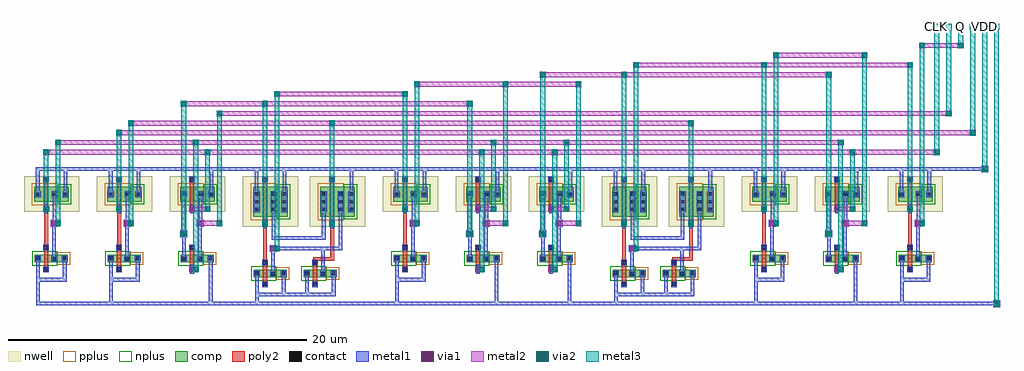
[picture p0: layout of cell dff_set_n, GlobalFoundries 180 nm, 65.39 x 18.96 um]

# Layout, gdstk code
import gdstk
lib = gdstk.Library(unit=1e-6, precision=1e-09)
def R(c, l, rs):  # rectangles x0, y0, x1, y1
    for r in rs: c.add(gdstk.rectangle(r[:2], r[2:], *l))
def A(c, l, x, y, w, h, nx, ny, dx, dy):  # array of equal rectangles
    R(c, l, [(x+i*dx, y+j*dy, x+i*dx+w, y+j*dy+h) for i in range(nx) for j in range(ny)])
nwell = (21, 0)
comp = (22, 0)
poly2 = (30, 0)
pplus = (31, 0)
nplus = (32, 0)
contact = (33, 0)
metal1 = (34, 0)
via1 = (35, 0)
metal2 = (36, 0)
via2 = (38, 0)
metal3 = (42, 0)

inv = lib.new_cell('inv')
R(inv, nwell, [(-1.15,-0.69,2.54,1.69)])
R(inv, comp, [(-0.42,-4.06,0,-3.56), (0,-4.06,0.66,-3.56), (0.66,-4.06,1.08,-3.56), (1.08,-4.06,1.79,-3.56), (-0.46,0,0,1), (0,0,0.66,1), (0.66,0,1.12,1), (1.12,0,1.85,1)])
R(inv, poly2, [(0.15,-4.72,0.51,-4.36), (0.2,-4.67,0.46,-0.36), (0.19,-4.36,0.47,-3.26), (0.15,-3.26,0.51,-2.9), (0.14,-0.68,0.52,-0.3), (0.19,-0.3,0.47,1.3), (0.14,1.3,0.52,1.68)])
R(inv, pplus, [(1.08,-4.23,1.96,-3.39), (-0.63,-0.24,1.12,1.24)])
R(inv, nplus, [(-0.59,-4.3,1.08,-3.32), (1.12,-0.17,2.02,1.17)])
R(inv, contact, [(0.22,-4.65,0.44,-4.43), (-0.32,-3.92,-0.1,-3.7), (0.76,-3.92,0.98,-3.7), (1.47,-3.92,1.69,-3.7), (0.22,-3.19,0.44,-2.97), (0.22,-0.6,0.44,-0.38), (-0.34,0.39,-0.12,0.61), (0.78,0.39,1,0.61), (1.51,0.39,1.73,0.61), (0.22,1.38,0.44,1.6)])
R(inv, metal1, [(-0.33,-5.35,1.7,-5.11), (-0.33,-5.35,-0.09,-3.69), (1.46,-5.35,1.7,-3.69), (0.14,-4.73,0.52,-4.35), (-0.4,-4,-0.02,-3.62), (0.68,-4,1.06,-3.62), (1.39,-4,1.77,-3.62), (0.75,-3.93,0.99,-1.32), (0.14,-3.27,0.52,-2.89), (0.75,-1.56,1.01,-1.32), (0.77,-1.56,1.01,0.62), (0.14,-0.68,0.52,-0.3), (-0.42,0.31,-0.04,0.69), (0.7,0.31,1.08,0.69), (1.43,0.31,1.81,0.69), (-0.35,0.38,-0.11,2.31), (1.5,0.38,1.74,2.31), (0.14,1.3,0.52,1.68), (-0.35,2.07,1.74,2.31)])
inv.add(gdstk.Label('ps', (-0.23,0.5), layer=34, texttype=10))
inv.add(gdstk.Label('pd', (0.89,0.5), layer=34, texttype=10))
inv.add(gdstk.Label('pg', (0.33,-0.49), layer=34, texttype=10))
inv.add(gdstk.Label('pvdd', (1.62,0.5), layer=34, texttype=10))
inv.add(gdstk.Label('ns', (-0.21,-3.811), layer=34, texttype=10))
inv.add(gdstk.Label('nd', (0.87,-3.811), layer=34, texttype=10))
inv.add(gdstk.Label('ng', (0.33,-4.541), layer=34, texttype=10))
inv.add(gdstk.Label('ngnd', (1.58,-3.811), layer=34, texttype=10))
inv.add(gdstk.Label('VDD', (-0.23,2.19), layer=34, texttype=10))
inv.add(gdstk.Label('VSS', (-0.21,-5.232), layer=34, texttype=10))
inv.add(gdstk.Label('vout', (0.87,-1.44), layer=34, texttype=10))
inv.add(gdstk.Label('vin', (0.33,-0.49), layer=34, texttype=10))

c_tg = lib.new_cell('tg')
R(c_tg, nwell, [(-1.15,-0.69,2.54,1.69)])
R(c_tg, comp, [(-0.42,-4.06,0,-3.56), (0,-4.06,0.66,-3.56), (0.66,-4.06,1.08,-3.56), (1.08,-4.06,1.79,-3.56), (-0.46,0,0,1), (0,0,0.66,1), (0.66,0,1.12,1), (1.12,0,1.85,1)])
R(c_tg, poly2, [(0.15,-4.72,0.51,-4.36), (0.19,-4.36,0.47,-3.26), (0.15,-3.26,0.51,-2.9), (0.14,-0.68,0.52,-0.3), (0.19,-0.3,0.47,1.3), (0.14,1.3,0.52,1.68)])
R(c_tg, pplus, [(1.08,-4.23,1.96,-3.39), (-0.63,-0.24,1.12,1.24)])
R(c_tg, nplus, [(-0.59,-4.3,1.08,-3.32), (1.12,-0.17,2.02,1.17)])
R(c_tg, contact, [(0.22,-4.65,0.44,-4.43), (-0.32,-3.92,-0.1,-3.7), (0.76,-3.92,0.98,-3.7), (1.47,-3.92,1.69,-3.7), (0.22,-3.19,0.44,-2.97), (0.22,-0.6,0.44,-0.38), (-0.34,0.39,-0.12,0.61), (0.78,0.39,1,0.61), (1.51,0.39,1.73,0.61), (0.22,1.38,0.44,1.6)])
R(c_tg, metal1, [(1.46,-5.35,1.7,-5.11), (1.46,-5.35,1.7,-3.69), (0.14,-4.73,0.52,-4.35), (-0.4,-4,-0.02,-3.62), (0.68,-4,1.06,-3.62), (1.39,-4,1.77,-3.62), (-0.33,-3.93,-0.09,-2.02), (0.75,-3.93,0.99,-1.32), (0.14,-3.27,0.52,-2.89), (-0.35,-2.26,-0.09,-2.02), (-0.35,-2.26,-0.11,0.62), (0.75,-1.56,1.01,-1.32), (0.77,-1.56,1.01,0.62), (0.14,-0.68,0.52,-0.3), (-0.42,0.31,-0.04,0.69), (0.7,0.31,1.08,0.69), (1.43,0.31,1.81,0.69), (1.5,0.38,1.74,2.31), (0.14,1.3,0.52,1.68), (1.5,2.07,1.74,2.31)])
c_tg.add(gdstk.Label('ps', (-0.23,0.5), layer=34, texttype=10))
c_tg.add(gdstk.Label('pd', (0.89,0.5), layer=34, texttype=10))
c_tg.add(gdstk.Label('pg', (0.33,-0.49), layer=34, texttype=10))
c_tg.add(gdstk.Label('pvdd', (1.62,0.5), layer=34, texttype=10))
c_tg.add(gdstk.Label('ns', (-0.21,-3.811), layer=34, texttype=10))
c_tg.add(gdstk.Label('nd', (0.87,-3.811), layer=34, texttype=10))
c_tg.add(gdstk.Label('ng', (0.33,-4.541), layer=34, texttype=10))
c_tg.add(gdstk.Label('ngnd', (1.58,-3.811), layer=34, texttype=10))
c_tg.add(gdstk.Label('VDD', (1.62,2.19), layer=34, texttype=10))
c_tg.add(gdstk.Label('VSS', (1.58,-5.232), layer=34, texttype=10))
c_tg.add(gdstk.Label('A', (0.87,-1.44), layer=34, texttype=10))
c_tg.add(gdstk.Label('B', (-0.23,-2.14), layer=34, texttype=10))
c_tg.add(gdstk.Label('CTRL_B', (0.33,-0.49), layer=34, texttype=10))
c_tg.add(gdstk.Label('CTRL', (0.33,-4.541), layer=34, texttype=10))

nor2 = lib.new_cell('nor2')
R(nor2, nwell, [(-1.15,-0.69,2.54,2.69), (3.34,-0.69,7.03,2.69)])
R(nor2, comp, [(-0.42,-4.06,0,-3.56), (0,-4.06,0.66,-3.56), (0.66,-4.06,1.08,-3.56), (1.08,-4.06,1.79,-3.56), (2.93,-4.06,3.35,-3.56), (3.35,-4.06,4.01,-3.56), (4.01,-4.06,4.43,-3.56), (4.43,-4.06,5.14,-3.56), (-0.46,0,0,2), (0,0,0.66,2), (0.66,0,1.12,2), (1.12,0,1.85,2), (4.03,0,4.49,2), (4.49,0,5.15,2), (5.15,0,5.61,2), (5.61,0,6.34,2)])
R(nor2, poly2, [(0.15,-4.72,0.51,-4.36), (3.5,-4.72,3.86,-4.36), (0.2,-4.67,0.46,-0.36), (3.55,-4.67,3.81,-2.71), (0.19,-4.36,0.47,-3.26), (3.54,-4.36,3.82,-3.26), (0.15,-3.26,0.51,-2.9), (3.5,-3.26,3.86,-2.9), (3.55,-2.97,4.95,-2.71), (4.69,-2.97,4.95,-0.36), (0.14,-0.68,0.52,-0.3), (4.63,-0.68,5.01,-0.3), (0.19,-0.3,0.47,2.3), (4.68,-0.3,4.96,2.3), (0.14,2.3,0.52,2.68), (4.63,2.3,5.01,2.68)])
R(nor2, pplus, [(1.08,-4.23,1.96,-3.39), (4.43,-4.23,5.31,-3.39), (-0.63,-0.24,1.12,2.24), (3.86,-0.24,5.61,2.24)])
R(nor2, nplus, [(-0.59,-4.3,1.08,-3.32), (2.76,-4.3,4.43,-3.32), (1.12,-0.17,2.02,2.17), (5.61,-0.17,6.51,2.17)])
A(nor2, contact, -0.34, 0.38, 0.22, 0.22, 1, 3, 0, 0.51)
A(nor2, contact, 0.78, 0.38, 0.22, 0.22, 1, 3, 0, 0.51)
A(nor2, contact, 1.51, 0.38, 0.22, 0.22, 1, 3, 0, 0.51)
A(nor2, contact, 4.15, 0.38, 0.22, 0.22, 1, 3, 0, 0.51)
A(nor2, contact, 5.27, 0.38, 0.22, 0.22, 1, 3, 0, 0.51)
A(nor2, contact, 6, 0.38, 0.22, 0.22, 1, 3, 0, 0.51)
R(nor2, contact, [(0.22,-4.65,0.44,-4.43), (3.57,-4.65,3.79,-4.43), (-0.32,-3.92,-0.1,-3.7), (0.76,-3.92,0.98,-3.7), (1.47,-3.92,1.69,-3.7), (3.03,-3.92,3.25,-3.7), (4.11,-3.92,4.33,-3.7), (4.82,-3.92,5.04,-3.7), (0.22,-3.19,0.44,-2.97), (3.57,-3.19,3.79,-2.97), (0.22,-0.6,0.44,-0.38), (4.71,-0.6,4.93,-0.38), (0.22,2.38,0.44,2.6), (4.71,2.38,4.93,2.6)])
R(nor2, metal1, [(-0.33,-5.35,5.05,-5.11), (-0.33,-5.35,-0.09,-3.69), (1.46,-5.35,1.7,-3.69), (3.02,-5.35,3.26,-3.69), (4.81,-5.35,5.05,-3.69), (0.14,-4.73,0.52,-4.35), (3.49,-4.73,3.87,-4.35), (-0.4,-4,-0.02,-3.62), (0.68,-4,1.06,-3.62), (1.39,-4,1.77,-3.62), (2.95,-4,3.33,-3.62), (4.03,-4,4.41,-3.62), (4.74,-4,5.12,-3.62), (0.75,-3.93,0.99,-2.02), (4.1,-3.93,4.34,-2.02), (0.14,-3.27,0.52,-2.89), (3.49,-3.27,3.87,-2.89), (0.75,-2.26,5.5,-2.02), (5.26,-2.26,5.5,1.12), (0.77,-1.56,4.38,-1.32), (0.77,-1.56,1.01,1.12), (4.14,-1.56,4.38,1.12), (0.14,-0.68,0.52,-0.3), (4.63,-0.68,5.01,-0.3), (-0.42,0.3,-0.04,1.7), (0.7,0.3,1.08,1.7), (1.43,0.3,1.81,1.7), (4.07,0.3,4.45,1.7), (5.19,0.3,5.57,1.7), (5.92,0.3,6.3,1.7), (-0.35,0.88,-0.11,3.31), (1.5,0.88,1.74,3.31), (5.99,0.88,6.23,3.31), (0.14,2.3,0.52,2.68), (4.63,2.3,5.01,2.68), (-0.35,3.07,6.23,3.31)])
nor2.add(gdstk.Label('ps_a', (-0.23,1), layer=34, texttype=10))
nor2.add(gdstk.Label('pd_a', (0.89,1), layer=34, texttype=10))
nor2.add(gdstk.Label('pg_a', (0.33,-0.49), layer=34, texttype=10))
nor2.add(gdstk.Label('pvdd_a', (1.62,1), layer=34, texttype=10))
nor2.add(gdstk.Label('ps_b', (4.26,1), layer=34, texttype=10))
nor2.add(gdstk.Label('pd_b', (5.38,1), layer=34, texttype=10))
nor2.add(gdstk.Label('pg_b', (4.82,-0.49), layer=34, texttype=10))
nor2.add(gdstk.Label('pvdd_b', (6.11,1), layer=34, texttype=10))
nor2.add(gdstk.Label('ns_a', (-0.21,-3.811), layer=34, texttype=10))
nor2.add(gdstk.Label('nd_a', (0.87,-3.811), layer=34, texttype=10))
nor2.add(gdstk.Label('ng_a', (0.33,-4.541), layer=34, texttype=10))
nor2.add(gdstk.Label('ngnd_a', (1.58,-3.811), layer=34, texttype=10))
nor2.add(gdstk.Label('ns_b', (3.14,-3.811), layer=34, texttype=10))
nor2.add(gdstk.Label('nd_b', (4.22,-3.811), layer=34, texttype=10))
nor2.add(gdstk.Label('ng_b', (3.68,-4.541), layer=34, texttype=10))
nor2.add(gdstk.Label('ngnd_b', (4.93,-3.811), layer=34, texttype=10))
nor2.add(gdstk.Label('VDD', (-0.23,3.19), layer=34, texttype=10))
nor2.add(gdstk.Label('VSS', (-0.21,-5.232), layer=34, texttype=10))
nor2.add(gdstk.Label('Z', (0.87,-2.14), layer=34, texttype=10))
nor2.add(gdstk.Label('A', (0.33,-0.49), layer=34, texttype=10))
nor2.add(gdstk.Label('B', (4.82,-0.49), layer=34, texttype=10))

dff_set_n = lib.new_cell('dff_set_n')
A(dff_set_n, metal1, 1.79, -3.98, 0.46, 0.46, 3, 1, 4.89, 0)
A(dff_set_n, metal1, 25.84, -3.98, 0.46, 0.46, 3, 1, 4.89, 0)
A(dff_set_n, metal1, 49.89, -3.98, 0.46, 0.46, 3, 1, 4.89, 0)
A(dff_set_n, metal1, 1.35, -3.1, 0.26, 0.6, 3, 1, 4.89, 0)
A(dff_set_n, metal1, 25.4, -3.1, 0.26, 0.6, 3, 1, 4.89, 0)
A(dff_set_n, metal1, 49.45, -3.1, 0.26, 0.6, 3, 1, 4.89, 0)
R(dff_set_n, metal1, [(64.93,-9.37,65.39,-8.91), (0.82,-9.26,1.06,-7.42), (0.82,-9.26,65.28,-9.02), (5.71,-9.26,5.95,-7.42), (12.39,-9.26,12.63,-7.42), (15.49,-9.26,15.73,-8.42), (24.87,-9.26,25.11,-7.42), (31.55,-9.26,31.79,-7.42), (36.44,-9.26,36.68,-7.42), (39.54,-9.26,39.78,-8.42), (48.92,-9.26,49.16,-7.42), (55.6,-9.26,55.84,-7.42), (58.7,-9.26,58.94,-7.42), (11.13,-7.15,11.39,-6.55), (30.29,-7.15,30.55,-6.55), (35.18,-7.15,35.44,-6.55), (54.34,-7.15,54.6,-6.55), (16.46,-5.68,16.92,-5.22), (40.51,-5.68,40.97,-5.22), (10.47,-4.68,10.93,-4.22), (29.63,-4.68,30.09,-4.22), (34.52,-4.68,34.98,-4.22), (53.68,-4.68,54.14,-4.22), (16.02,-4.1,16.28,-3.5), (20.51,-4.1,20.77,-3.5), (40.07,-4.1,40.33,-3.5), (44.56,-4.1,44.82,-3.5), (64.13,-0.35,64.59,0.11), (0.8,-0.24,64.48,0)])
A(dff_set_n, via1, 1.89, -3.88, 0.26, 0.26, 3, 1, 4.89, 0)
A(dff_set_n, via1, 25.94, -3.88, 0.26, 0.26, 3, 1, 4.89, 0)
A(dff_set_n, via1, 49.99, -3.88, 0.26, 0.26, 3, 1, 4.89, 0)
A(dff_set_n, via1, 1.35, -2.93, 0.26, 0.26, 3, 1, 4.89, 0)
A(dff_set_n, via1, 25.4, -2.93, 0.26, 0.26, 3, 1, 4.89, 0)
A(dff_set_n, via1, 49.45, -2.93, 0.26, 0.26, 3, 1, 4.89, 0)
R(dff_set_n, via1, [(65.03,-9.27,65.29,-9.01), (11.13,-6.98,11.39,-6.72), (30.29,-6.98,30.55,-6.72), (35.18,-6.98,35.44,-6.72), (54.34,-6.98,54.6,-6.72), (16.56,-5.58,16.82,-5.32), (40.61,-5.58,40.87,-5.32), (10.57,-4.58,10.83,-4.32), (29.73,-4.58,29.99,-4.32), (34.62,-4.58,34.88,-4.32), (53.78,-4.58,54.04,-4.32), (16.02,-3.93,16.28,-3.67), (20.51,-3.93,20.77,-3.67), (40.07,-3.93,40.33,-3.67), (44.56,-3.93,44.82,-3.67), (64.23,-0.25,64.49,0.01)])
A(dff_set_n, metal2, 1.285, -2.995, 0.39, 0.39, 3, 1, 4.89, 0)
R(dff_set_n, metal2, [(64.965,-9.335,65.355,-8.945), (11.065,-7.045,11.455,-6.655), (11.305,-7.045,11.695,-6.655), (30.225,-7.045,30.615,-6.655), (30.465,-7.045,30.855,-6.655), (35.115,-7.045,35.505,-6.655), (35.355,-7.045,35.745,-6.655), (54.275,-7.045,54.665,-6.655), (54.515,-7.045,54.905,-6.655), (11.1,-7.01,11.66,-6.69), (30.26,-7.01,30.82,-6.69), (35.15,-7.01,35.71,-6.69), (54.31,-7.01,54.87,-6.69), (16.495,-5.645,16.885,-5.255), (16.755,-5.645,17.145,-5.255), (40.545,-5.645,40.935,-5.255), (40.805,-5.645,41.195,-5.255), (16.53,-5.61,17.11,-5.29), (40.58,-5.61,41.16,-5.29), (10.505,-4.645,10.895,-4.255), (29.665,-4.645,30.055,-4.255), (34.555,-4.645,34.945,-4.255), (53.715,-4.645,54.105,-4.255), (15.955,-3.995,16.345,-3.605), (20.445,-3.995,20.835,-3.605), (40.005,-3.995,40.395,-3.605), (44.495,-3.995,44.885,-3.605), (1.825,-3.945,2.215,-3.555), (2.085,-3.945,2.475,-3.555), (6.715,-3.945,7.105,-3.555), (6.975,-3.945,7.365,-3.555), (11.605,-3.945,11.995,-3.555), (12.905,-3.945,13.295,-3.555), (25.875,-3.945,26.265,-3.555), (26.135,-3.945,26.525,-3.555), (30.765,-3.945,31.155,-3.555), (32.065,-3.945,32.455,-3.555), (35.655,-3.945,36.045,-3.555), (36.955,-3.945,37.345,-3.555), (49.925,-3.945,50.315,-3.555), (50.185,-3.945,50.575,-3.555), (54.815,-3.945,55.205,-3.555), (56.115,-3.945,56.505,-3.555), (59.705,-3.945,60.095,-3.555), (59.965,-3.945,60.355,-3.555), (1.86,-3.91,2.44,-3.59), (6.75,-3.91,7.33,-3.59), (11.64,-3.91,13.26,-3.59), (25.91,-3.91,26.49,-3.59), (30.8,-3.91,32.42,-3.59), (35.69,-3.91,37.31,-3.59), (49.96,-3.91,50.54,-3.59), (54.85,-3.91,56.47,-3.59), (59.74,-3.91,60.32,-3.59), (12.105,-2.995,12.495,-2.605), (25.335,-2.995,25.725,-2.605), (30.225,-2.995,30.615,-2.605), (31.265,-2.995,31.655,-2.605), (35.115,-2.995,35.505,-2.605), (36.155,-2.995,36.545,-2.605), (49.385,-2.995,49.775,-2.605), (54.275,-2.995,54.665,-2.605), (55.315,-2.995,55.705,-2.605), (59.165,-2.995,59.555,-2.605), (11.1,-2.96,12.46,-2.64), (30.26,-2.96,31.62,-2.64), (35.15,-2.96,36.51,-2.64), (54.31,-2.96,55.67,-2.64), (64.165,-0.315,64.555,0.075), (1.285,0.805,1.675,1.195), (12.105,0.805,12.495,1.195), (30.465,0.805,30.855,1.195), (35.355,0.805,35.745,1.195), (55.315,0.805,55.705,1.195), (60.965,0.805,61.355,1.195), (1.32,0.84,61.32,1.16), (2.085,1.455,2.475,1.845), (11.305,1.455,11.695,1.845), (31.265,1.455,31.655,1.845), (36.155,1.455,36.545,1.845), (54.515,1.455,54.905,1.845), (2.12,1.49,54.87,1.81), (6.175,2.105,6.565,2.495), (63.365,2.105,63.755,2.495), (6.21,2.14,63.72,2.46), (6.975,2.755,7.365,3.145), (20.445,2.755,20.835,3.145), (44.495,2.755,44.885,3.145), (7.01,2.79,44.85,3.11), (12.905,3.405,13.295,3.795), (61.765,3.405,62.155,3.795), (12.94,3.44,62.12,3.76), (10.505,4.055,10.895,4.445), (15.955,4.055,16.345,4.445), (29.665,4.055,30.055,4.445), (10.54,4.09,30.02,4.41), (16.755,4.705,17.145,5.095), (25.335,4.705,25.725,5.095), (16.79,4.74,25.69,5.06), (26.135,5.355,26.525,5.745), (32.065,5.355,32.455,5.745), (36.955,5.355,37.345,5.745), (26.17,5.39,37.31,5.71), (34.555,6.005,34.945,6.395), (40.005,6.005,40.395,6.395), (53.715,6.005,54.105,6.395), (34.59,6.04,54.07,6.36), (40.805,6.655,41.195,7.045), (49.385,6.655,49.775,7.045), (59.165,6.655,59.555,7.045), (40.84,6.69,59.52,7.01), (50.185,7.305,50.575,7.695), (56.115,7.305,56.505,7.695), (50.22,7.34,56.47,7.66), (59.965,7.955,60.355,8.345), (62.565,7.955,62.955,8.345), (60,7.99,62.92,8.31)])
R(dff_set_n, via2, [(65.03,-9.27,65.29,-9.01), (11.37,-6.98,11.63,-6.72), (30.53,-6.98,30.79,-6.72), (35.42,-6.98,35.68,-6.72), (54.58,-6.98,54.84,-6.72), (16.82,-5.58,17.08,-5.32), (40.87,-5.58,41.13,-5.32), (10.57,-4.58,10.83,-4.32), (29.73,-4.58,29.99,-4.32), (34.62,-4.58,34.88,-4.32), (53.78,-4.58,54.04,-4.32), (16.02,-3.93,16.28,-3.67), (20.51,-3.93,20.77,-3.67), (40.07,-3.93,40.33,-3.67), (44.56,-3.93,44.82,-3.67), (2.15,-3.88,2.41,-3.62), (7.04,-3.88,7.3,-3.62), (12.97,-3.88,13.23,-3.62), (26.2,-3.88,26.46,-3.62), (32.13,-3.88,32.39,-3.62), (37.02,-3.88,37.28,-3.62), (50.25,-3.88,50.51,-3.62), (56.18,-3.88,56.44,-3.62), (60.03,-3.88,60.29,-3.62), (1.35,-2.93,1.61,-2.67), (6.24,-2.93,6.5,-2.67), (12.17,-2.93,12.43,-2.67), (25.4,-2.93,25.66,-2.67), (31.33,-2.93,31.59,-2.67), (36.22,-2.93,36.48,-2.67), (49.45,-2.93,49.71,-2.67), (55.38,-2.93,55.64,-2.67), (59.23,-2.93,59.49,-2.67), (64.23,-0.25,64.49,0.01), (1.35,0.87,1.61,1.13), (12.17,0.87,12.43,1.13), (30.53,0.87,30.79,1.13), (35.42,0.87,35.68,1.13), (55.38,0.87,55.64,1.13), (61.03,0.87,61.29,1.13), (2.15,1.52,2.41,1.78), (11.37,1.52,11.63,1.78), (31.33,1.52,31.59,1.78), (36.22,1.52,36.48,1.78), (54.58,1.52,54.84,1.78), (6.24,2.17,6.5,2.43), (63.43,2.17,63.69,2.43), (7.04,2.82,7.3,3.08), (20.51,2.82,20.77,3.08), (44.56,2.82,44.82,3.08), (12.97,3.47,13.23,3.73), (61.83,3.47,62.09,3.73), (10.57,4.12,10.83,4.38), (16.02,4.12,16.28,4.38), (29.73,4.12,29.99,4.38), (16.82,4.77,17.08,5.03), (25.4,4.77,25.66,5.03), (26.2,5.42,26.46,5.68), (32.13,5.42,32.39,5.68), (37.02,5.42,37.28,5.68), (34.62,6.07,34.88,6.33), (40.07,6.07,40.33,6.33), (53.78,6.07,54.04,6.33), (40.87,6.72,41.13,6.98), (49.45,6.72,49.71,6.98), (59.23,6.72,59.49,6.98), (50.25,7.37,50.51,7.63), (56.18,7.37,56.44,7.63), (60.03,8.02,60.29,8.28), (62.63,8.02,62.89,8.28)])
A(dff_set_n, metal3, 60.965, 9.205, 0.39, 0.39, 6, 1, 0.8, 0)
R(dff_set_n, metal3, [(64.965,-9.335,65.355,-8.945), (65,-9.3,65.32,9.56), (11.305,-7.045,11.695,-6.655), (30.465,-7.045,30.855,-6.655), (35.355,-7.045,35.745,-6.655), (54.515,-7.045,54.905,-6.655), (11.34,-7.01,11.66,1.81), (30.5,-7.01,30.82,1.16), (35.39,-7.01,35.71,1.16), (54.55,-7.01,54.87,1.81), (16.755,-5.645,17.145,-5.255), (40.805,-5.645,41.195,-5.255), (16.79,-5.61,17.11,5.06), (40.84,-5.61,41.16,7.01), (10.505,-4.645,10.895,-4.255), (29.665,-4.645,30.055,-4.255), (34.555,-4.645,34.945,-4.255), (53.715,-4.645,54.105,-4.255), (10.54,-4.61,10.86,4.41), (29.7,-4.61,30.02,4.41), (34.59,-4.61,34.91,6.36), (53.75,-4.61,54.07,6.36), (15.955,-3.995,16.345,-3.605), (20.445,-3.995,20.835,-3.605), (40.005,-3.995,40.395,-3.605), (44.495,-3.995,44.885,-3.605), (15.99,-3.96,16.31,4.41), (20.48,-3.96,20.8,3.11), (40.04,-3.96,40.36,6.36), (44.53,-3.96,44.85,3.11), (2.085,-3.945,2.475,-3.555), (6.975,-3.945,7.365,-3.555), (12.905,-3.945,13.295,-3.555), (26.135,-3.945,26.525,-3.555), (32.065,-3.945,32.455,-3.555), (36.955,-3.945,37.345,-3.555), (50.185,-3.945,50.575,-3.555), (56.115,-3.945,56.505,-3.555), (59.965,-3.945,60.355,-3.555), (2.12,-3.91,2.44,1.81), (7.01,-3.91,7.33,3.11), (12.94,-3.91,13.26,3.76), (26.17,-3.91,26.49,5.71), (32.1,-3.91,32.42,5.71), (36.99,-3.91,37.31,5.71), (50.22,-3.91,50.54,7.66), (56.15,-3.91,56.47,7.66), (60,-3.91,60.32,8.31), (1.285,-2.995,1.675,-2.605), (6.175,-2.995,6.565,-2.605), (12.105,-2.995,12.495,-2.605), (25.335,-2.995,25.725,-2.605), (31.265,-2.995,31.655,-2.605), (36.155,-2.995,36.545,-2.605), (49.385,-2.995,49.775,-2.605), (55.315,-2.995,55.705,-2.605), (59.165,-2.995,59.555,-2.605), (1.32,-2.96,1.64,1.16), (6.21,-2.96,6.53,2.46), (12.14,-2.96,12.46,1.16), (25.37,-2.96,25.69,5.06), (31.3,-2.96,31.62,1.81), (36.19,-2.96,36.51,1.81), (49.42,-2.96,49.74,7.01), (55.35,-2.96,55.67,1.16), (59.2,-2.96,59.52,7.01), (64.165,-0.315,64.555,0.075), (64.2,-0.28,64.52,9.56), (1.285,0.805,1.675,1.195), (12.105,0.805,12.495,1.195), (30.465,0.805,30.855,1.195), (35.355,0.805,35.745,1.195), (55.315,0.805,55.705,1.195), (60.965,0.805,61.355,1.195), (61,0.84,61.32,9.56), (2.085,1.455,2.475,1.845), (11.305,1.455,11.695,1.845), (31.265,1.455,31.655,1.845), (36.155,1.455,36.545,1.845), (54.515,1.455,54.905,1.845), (6.175,2.105,6.565,2.495), (63.365,2.105,63.755,2.495), (63.4,2.14,63.72,9.56), (6.975,2.755,7.365,3.145), (20.445,2.755,20.835,3.145), (44.495,2.755,44.885,3.145), (12.905,3.405,13.295,3.795), (61.765,3.405,62.155,3.795), (61.8,3.44,62.12,9.56), (10.505,4.055,10.895,4.445), (15.955,4.055,16.345,4.445), (29.665,4.055,30.055,4.445), (16.755,4.705,17.145,5.095), (25.335,4.705,25.725,5.095), (26.135,5.355,26.525,5.745), (32.065,5.355,32.455,5.745), (36.955,5.355,37.345,5.745), (34.555,6.005,34.945,6.395), (40.005,6.005,40.395,6.395), (53.715,6.005,54.105,6.395), (40.805,6.655,41.195,7.045), (49.385,6.655,49.775,7.045), (59.165,6.655,59.555,7.045), (50.185,7.305,50.575,7.695), (56.115,7.305,56.505,7.695), (59.965,7.955,60.355,8.345), (62.565,7.955,62.955,8.345), (62.6,7.99,62.92,9.56)])
dff_set_n.add(gdstk.Reference(inv, (1.15,-2.31)))
dff_set_n.add(gdstk.Reference(inv, (6.04,-2.31)))
dff_set_n.add(gdstk.Reference(c_tg, (10.93,-2.31)))
dff_set_n.add(gdstk.Reference(nor2, (15.82,-3.31)))
dff_set_n.add(gdstk.Reference(inv, (25.2,-2.31)))
dff_set_n.add(gdstk.Reference(c_tg, (30.09,-2.31)))
dff_set_n.add(gdstk.Reference(c_tg, (34.98,-2.31)))
dff_set_n.add(gdstk.Reference(nor2, (39.87,-3.31)))
dff_set_n.add(gdstk.Reference(inv, (49.25,-2.31)))
dff_set_n.add(gdstk.Reference(c_tg, (54.14,-2.31)))
dff_set_n.add(gdstk.Reference(inv, (59.03,-2.31)))
dff_set_n.add(gdstk.Label('CLK', (61.16,9.4), layer=34, texttype=10))
dff_set_n.add(gdstk.Label('D', (61.96,9.4), layer=34, texttype=10))
dff_set_n.add(gdstk.Label('Q', (62.76,9.4), layer=34, texttype=10))
dff_set_n.add(gdstk.Label('RST_N', (63.56,9.4), layer=34, texttype=10))
dff_set_n.add(gdstk.Label('VDD', (64.36,9.4), layer=34, texttype=10))
dff_set_n.add(gdstk.Label('VSS', (65.16,9.4), layer=34, texttype=10))

lib.write_gds('dff_set_n.gds')
